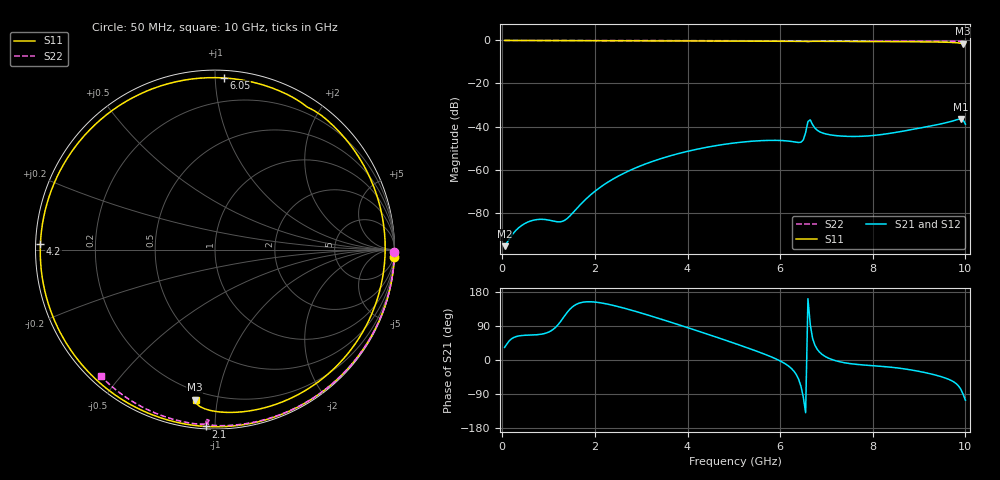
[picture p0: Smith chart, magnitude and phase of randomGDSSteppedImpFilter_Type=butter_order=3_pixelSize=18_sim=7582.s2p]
! freq	dB(S11)	phase(S11)	dB(S12)	phase(S12)
!  dB(S21)	phase(S21)	dB(S22)	phase(S22)
!S-par simulation data
#  GHz  S  DB  R 50
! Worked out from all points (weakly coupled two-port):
!   200 points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, 50 MHz to 10 GHz, reference 50 ohm
!   highest |S21| = -36.44 dB at 9.9 GHz (marker M1); lowest = -95.6 dB at 50 MHz (marker M2)
!   lowest |S11| = -1.5 dB at 9.95 GHz (marker M3), VSWR 11.78, Z = 7.44 - j43.1 ohm
!   |S11| at or under -10 dB: nowhere
!   |S22| runs from -0.5 to 0.0 dB; largest |S21 - S12| = 0
!   S11 on the Smith chart (normalised r, x): 50 MHz: 0, -50; 2.1 GHz: 0.01, -0.95; 4.2 GHz: 0.01, +0.02; 6.05 GHz: 0.05, +1.05; 10 GHz: 0.15, -0.87
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0.05  -0.00 -2.3  -95.63 33.3  -95.63 33.3  -0.00 -0.8
0.7  -0.04 -31.9  -83.43 66.3  -83.43 66.3  -0.01 -10.7
1.5  -0.08 -67.3  -80.69 138.7  -80.69 138.7  -0.03 -22.7
1.75  -0.10 -78.1  -74.91 152.7  -74.91 152.7  -0.03 -26.4
2.1  -0.12 -93.0  -68.49 151.3  -68.49 151.3  -0.04 -31.5
2.7  -0.15 -118.1  -60.96 134.4  -60.96 134.4  -0.05 -40.2
3.4  -0.18 -147.4  -55.10 108.9  -55.10 108.9  -0.07 -50.2
4.2  -0.24 178.2  -50.58 77.5  -50.58 77.5  -0.09 -61.3
5.05  -0.30 138.7  -47.55 42.5  -47.55 42.5  -0.11 -72.7
5.6  -0.34 111.0  -46.56 18.4  -46.56 18.4  -0.13 -79.9
6.05  -0.38 87.1  -46.54 -5.7  -46.54 -5.7  -0.15 -85.7
6.45  -0.41 65.1  -47.31 -69.7  -47.31 -69.7  -0.19 -91.1
6.5  -0.43 62.3  -46.21 -98.1  -46.21 -98.1  -0.22 -92.0
6.6  -0.48 57.0  -37.69 161.7  -37.69 161.7  -0.49 -93.2
6.7  -0.41 51.7  -39.12 57.3  -39.12 57.3  -0.28 -92.6
6.95  -0.42 37.7  -43.25 11.0  -43.25 11.0  -0.21 -96.3
7.5  -0.45 8.1  -44.61 -9.3  -44.61 -9.3  -0.23 -103.2
8.35  -0.53 -33.8  -43.25 -18.5  -43.25 -18.5  -0.29 -113.3
9.15  -0.66 -68.3  -40.17 -33.8  -40.17 -33.8  -0.36 -122.5
9.9  -1.29 -97.1  -36.44 -76.9  -36.44 -76.9  -0.44 -131.0
9.95  -1.48 -97.7  -36.80 -90.0  -36.80 -90.0  -0.45 -131.6
10  -1.47 -97.0  -38.91 -105.9  -38.91 -105.9  -0.45 -132.1
